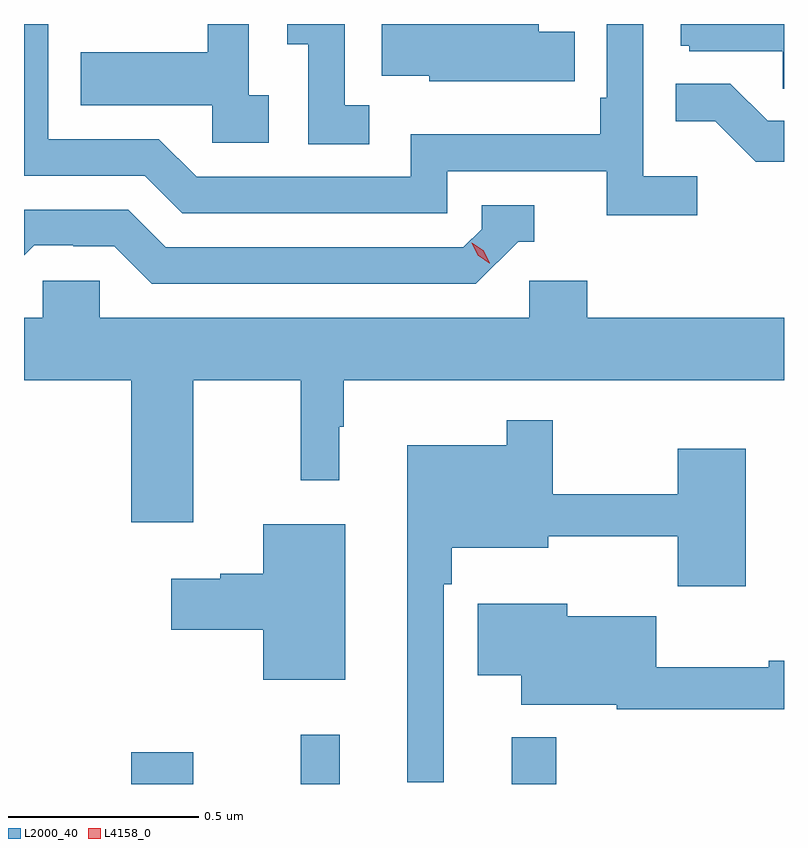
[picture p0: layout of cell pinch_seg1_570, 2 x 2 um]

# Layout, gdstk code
import gdstk
lib = gdstk.Library(unit=1e-6, precision=1e-09)
def R(c, l, rs):  # rectangles x0, y0, x1, y1
    for r in rs: c.add(gdstk.rectangle(r[:2], r[2:], *l))
def P(c, l, *ps):  # polygons
    for p in ps: c.add(gdstk.Polygon(p, *l))
L2000_40 = (2000, 40)
L4158_0 = (4158, 0)

pinch_seg1_570 = lib.new_cell('pinch_seg1_570')
R(pinch_seg1_570, L2000_40, [(1064.108,516.037,1064.272,516.121), (1064.554,516.037,1064.657,516.166), (1065.11,516.037,1065.227,516.16)])
P(pinch_seg1_570, L2000_40, [(1065.598,517.636),(1065.456,517.636),(1065.456,518.037),(1065.36,518.037),(1065.36,517.843),(1065.343,517.843),(1065.343,517.747),(1064.844,517.747),(1064.844,517.635),(1064.28,517.635),(1064.181,517.734),(1063.89,517.734),(1063.89,518.037),(1063.826,518.037),(1063.826,517.638),(1064.144,517.638),(1064.243,517.539),(1064.94,517.539),(1064.94,517.65),(1065.359,517.65),(1065.359,517.534),(1065.598,517.534)],
  [(1065.826,518.037),(1065.554,518.037),(1065.554,517.98),(1065.576,517.98),(1065.576,517.965),(1065.823,517.965),(1065.823,517.867),(1065.826,517.867)],
  [(1064.734,517.823),(1064.67,517.823),(1064.67,518.037),(1064.519,518.037),(1064.519,517.984),(1064.574,517.984),(1064.574,517.72),(1064.734,517.72)],
  [(1065.164,517.887),(1065.275,517.887),(1065.275,518.016),(1065.181,518.016),(1065.181,518.037),(1064.767,518.037),(1064.767,517.901),(1064.892,517.901),(1064.892,517.886),(1065.164,517.886)],
  [(1064.47,517.85),(1064.418,517.85),(1064.418,518.037),(1064.31,518.037),(1064.31,517.963),(1063.975,517.963),(1063.975,517.823),(1064.322,517.823),(1064.322,517.725),(1064.47,517.725)],
  [(1065.826,517.782),(1065.783,517.782),(1065.685,517.88),(1065.541,517.88),(1065.541,517.781),(1065.645,517.781),(1065.752,517.674),(1065.826,517.674)],
  [(1065.126,517.464),(1065.169,517.464),(1065.169,517.56),(1065.03,517.56),(1065.03,517.497),(1064.982,517.449),(1064.199,517.449),(1064.1,517.548),(1063.826,517.548),(1063.826,517.428),(1063.853,517.455),(1063.956,517.455),(1063.956,517.452),(1064.063,517.452),(1064.162,517.353),(1065.015,517.353)],
  [(1064.025,517.362),(1063.875,517.362),(1063.875,517.264),(1063.826,517.264),(1063.826,517.1),(1064.108,517.1),(1064.108,516.726),(1064.272,516.726),(1064.272,517.1),(1064.554,517.1),(1064.554,516.837),(1064.656,516.837),(1064.656,516.977),(1064.668,516.977),(1064.668,517.1),(1065.826,517.1),(1065.826,517.264),(1065.308,517.264),(1065.308,517.362),(1065.156,517.362),(1065.156,517.264),(1064.025,517.264)],
  [(1064.931,516.563),(1064.951,516.563),(1064.951,516.659),(1065.205,516.659),(1065.205,516.689),(1065.547,516.689),(1065.547,516.558),(1065.725,516.558),(1065.725,516.919),(1065.547,516.919),(1065.547,516.799),(1065.217,516.799),(1065.217,516.994),(1065.096,516.994),(1065.096,516.928),(1064.834,516.928),(1064.834,516.042),(1064.931,516.042)],
  [(1064.671,516.721),(1064.456,516.721),(1064.456,516.59),(1064.343,516.59),(1064.343,516.577),(1064.214,516.577),(1064.214,516.443),(1064.456,516.443),(1064.456,516.311),(1064.671,516.311)],
  [(1065.826,516.362),(1065.786,516.362),(1065.786,516.344),(1065.49,516.344),(1065.49,516.478),(1065.256,516.478),(1065.256,516.511),(1065.02,516.511),(1065.02,516.323),(1065.134,516.323),(1065.134,516.245),(1065.386,516.245),(1065.386,516.234),(1065.826,516.234)])
P(pinch_seg1_570, L4158_0, [(1065.05,517.408),(1065.02,517.428),(1065.004,517.461),(1065.004,517.462),(1065.004,517.462),(1065.035,517.442),(1065.051,517.409),(1065.051,517.408)])

lib.write_gds('pinch_seg1_570.gds')
